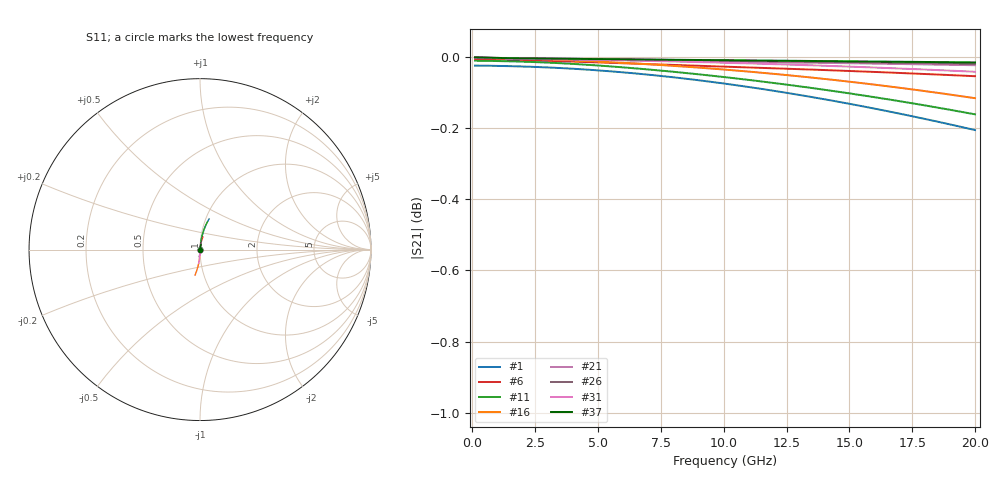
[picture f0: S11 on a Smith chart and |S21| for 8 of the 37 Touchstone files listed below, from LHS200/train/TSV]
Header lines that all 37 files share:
! Touchstone file exported from HFSS 2026.1.0
!  Design:  TSV
! Variables:
! Terminal data exported
# GHz S MA R 50.000000
Fixed: h_bsmrdl = 2um, h_ox = 20um, h_rdl = 5um, h_tmrdl = 5um, h_via = 3um, l_bsmrdl = 300um, l_tmrdl = 200um, m_sub = 200um, s_tmrdl = 10um, w_bsmrdl = 18um, w_sub = 500um, w_tmrdl = 12um, x_tsv_center1 = 206um, x_tsv_center2 = 524um, x_tsv_center3 = 736um, x_tsv_center4 = 1054um, x_tsv_center5 = 1266um, x_tsv_center6 = 1584um
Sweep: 100 MHz to 20 GHz
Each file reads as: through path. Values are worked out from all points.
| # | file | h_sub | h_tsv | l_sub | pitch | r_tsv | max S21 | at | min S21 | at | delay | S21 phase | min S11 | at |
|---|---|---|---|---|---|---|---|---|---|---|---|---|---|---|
| 1 | dut100.s2p | 99.44um | 99.44um | 404.02um | 49.76um | 2.01um | -0.02 dB | 100 MHz | -0.2 dB | 20 GHz | 2.06 ps | -8 deg at 10.1 GHz | -50.6 dB | 100 MHz |
| 2 | dut101.s2p | 50.51um | 50.51um | 410.68um | 13.7um | 5.34um | 0.00 dB | 100 MHz | 0.0 dB | 20 GHz | - | -3 deg at 10.1 GHz | -70.0 dB | 100 MHz |
| 3 | dut102.s2p | 64.33um | 64.33um | 404.26um | 5.87um | 2.13um | -0.01 dB | 100 MHz | 0.0 dB | 20 GHz | - | -3 deg at 10.1 GHz | -55.6 dB | 100 MHz |
| 4 | dut103.s2p | 78.54um | 78.54um | 404.38um | 5.78um | 2.19um | -0.02 dB | 100 MHz | -0.1 dB | 20 GHz | 1.14 ps | -4 deg at 10.1 GHz | -54.4 dB | 100 MHz |
| 5 | dut104.s2p | 53.9um | 53.9um | 411.06um | 58.84um | 5.53um | 0.00 dB | 100 MHz | 0.0 dB | 20 GHz | 1.09 ps | -4 deg at 10.1 GHz | -66.1 dB | 100 MHz |
| 6 | dut105.s2p | 99.32um | 99.32um | 407.76um | 31.51um | 3.88um | -0.01 dB | 100 MHz | -0.1 dB | 20 GHz | 1.44 ps | -5 deg at 10.1 GHz | -61.0 dB | 100 MHz |
| 7 | dut108.s2p | 52.47um | 52.47um | 404.58um | 6.53um | 2.29um | -0.01 dB | 100 MHz | 0.0 dB | 20 GHz | - | -3 deg at 10.1 GHz | -58.5 dB | 100 MHz |
| 8 | dut109.s2p | 70.55um | 70.55um | 404.04um | 16.99um | 2.02um | -0.02 dB | 100 MHz | -0.1 dB | 20 GHz | 1.02 ps | -4 deg at 10.1 GHz | -53.9 dB | 100 MHz |
| 9 | dut110.s2p | 72.1um | 72.1um | 404.06um | 33.27um | 2.03um | -0.02 dB | 100 MHz | -0.1 dB | 20 GHz | 1.34 ps | -5 deg at 10.1 GHz | -53.6 dB | 100 MHz |
| 10 | dut111.s2p | 98.56um | 98.56um | 419.46um | 57.89um | 9.73um | 0.00 dB | 100 MHz | 0.0 dB | 20 GHz | 1.46 ps | -5 deg at 10.1 GHz | -69.0 dB | 100 MHz |
| 11 | dut112.s2p | 93.26um | 93.26um | 405.96um | 59.32um | 2.98um | -0.01 dB | 100 MHz | -0.2 dB | 20 GHz | 1.93 ps | -7 deg at 10.1 GHz | -56.4 dB | 100 MHz |
| 12 | dut113.s2p | 82.38um | 82.38um | 413.98um | 36.83um | 6.99um | 0.00 dB | 100 MHz | 0.0 dB | 20 GHz | 1.15 ps | -4 deg at 10.1 GHz | -70.4 dB | 100 MHz |
| 13 | dut114.s2p | 99.79um | 99.79um | 410.52um | 42.26um | 5.26um | 0.00 dB | 100 MHz | -0.1 dB | 20 GHz | 1.5 ps | -6 deg at 10.1 GHz | -63.9 dB | 100 MHz |
| 14 | dut115.s2p | 99.82um | 99.82um | 414.98um | 17.53um | 7.49um | 0.00 dB | 100 MHz | -0.1 dB | 20 GHz | 1.7 ps | -6 deg at 10.1 GHz | -63.4 dB | 100 MHz |
| 15 | dut116.s2p | 52.18um | 52.18um | 411.5um | 43.34um | 5.75um | 0.00 dB | 100 MHz | 0.0 dB | 20 GHz | - | -3 deg at 10.1 GHz | -69.1 dB | 100 MHz |
| 16 | dut117.s2p | 82.89um | 82.89um | 428.14um | 31.53um | 14.07um | 0.00 dB | 100 MHz | -0.1 dB | 20 GHz | 1.61 ps | -6 deg at 10.1 GHz | -63.0 dB | 100 MHz |
| 17 | dut118.s2p | 66.82um | 66.82um | 417.56um | 58.68um | 8.78um | 0.00 dB | 100 MHz | 0.0 dB | 20 GHz | 1.11 ps | -4 deg at 10.1 GHz | -69.6 dB | 100 MHz |
| 18 | dut119.s2p | 91.91um | 91.91um | 404.38um | 23.63um | 2.19um | -0.02 dB | 100 MHz | -0.1 dB | 20 GHz | 1.41 ps | -5 deg at 10.1 GHz | -53.0 dB | 100 MHz |
| 19 | dut120.s2p | 50.94um | 50.94um | 420.26um | 32.4um | 10.13um | 0.00 dB | 100 MHz | 0.0 dB | 20 GHz | - | -3 deg at 10.1 GHz | -78.3 dB | 100 MHz |
| 20 | dut121.s2p | 59.59um | 59.59um | 404.76um | 43.4um | 2.38um | -0.01 dB | 100 MHz | -0.1 dB | 20 GHz | 1.27 ps | -5 deg at 10.1 GHz | -57.3 dB | 100 MHz |
| 21 | dut123.s2p | 99.56um | 99.56um | 419.12um | 30.63um | 9.56um | 0.00 dB | 100 MHz | 0.0 dB | 20 GHz | 1.32 ps | -5 deg at 10.1 GHz | -72.9 dB | 100 MHz |
| 22 | dut124.s2p | 58.39um | 58.39um | 408.26um | 9.96um | 4.13um | 0.00 dB | 100 MHz | 0.0 dB | 20 GHz | - | -4 deg at 10.1 GHz | -65.6 dB | 100 MHz |
| 23 | dut125.s2p | 99.9um | 99.9um | 429.5um | 40.44um | 14.75um | 0.00 dB | 100 MHz | 0.0 dB | 20 GHz | 1.45 ps | -5 deg at 10.1 GHz | -68.9 dB | 100 MHz |
| 24 | dut126.s2p | 72.22um | 72.22um | 408.2um | 59.57um | 4.1um | 0.00 dB | 100 MHz | -0.1 dB | 20 GHz | 1.48 ps | -5 deg at 10.1 GHz | -61.6 dB | 100 MHz |
| 25 | dut127.s2p | 85.71um | 85.71um | 421.22um | 25.18um | 10.61um | 0.00 dB | 100 MHz | -0.1 dB | 20 GHz | 1.44 ps | -5 deg at 10.1 GHz | -65.2 dB | 100 MHz |
| 26 | dut128.s2p | 63.72um | 63.72um | 414.84um | 46.29um | 7.42um | 0.00 dB | 100 MHz | 0.0 dB | 20 GHz | - | -4 deg at 10.1 GHz | -70.5 dB | 100 MHz |
| 27 | dut129.s2p | 87.81um | 87.81um | 404.02um | 7.25um | 2.01um | -0.02 dB | 100 MHz | -0.1 dB | 20 GHz | 1.11 ps | -4 deg at 10.1 GHz | -52.1 dB | 100 MHz |
| 28 | dut130.s2p | 70.9um | 70.9um | 416.14um | 38.9um | 8.07um | 0.00 dB | 100 MHz | 0.0 dB | 20 GHz | 1 ps | -4 deg at 10.1 GHz | -73.5 dB | 100 MHz |
| 29 | dut131.s2p | 57.06um | 57.06um | 429.62um | 48.56um | 14.81um | 0.00 dB | 100 MHz | 0.0 dB | 20 GHz | - | -3 deg at 10.1 GHz | -80.2 dB | 100 MHz |
| 30 | dut132.s2p | 89.03um | 89.03um | 417.02um | 29.27um | 8.51um | 0.00 dB | 100 MHz | 0.0 dB | 20 GHz | 1.18 ps | -4 deg at 10.1 GHz | -74.0 dB | 100 MHz |
| 31 | dut133.s2p | 50.04um | 50.04um | 416.08um | 18.55um | 8.04um | 0.00 dB | 100 MHz | 0.0 dB | 20 GHz | - | -3 deg at 10.1 GHz | -68.6 dB | 100 MHz |
| 32 | dut134.s2p | 66.34um | 66.34um | 422.86um | 58.8um | 11.43um | 0.00 dB | 100 MHz | 0.0 dB | 20 GHz | 1.03 ps | -4 deg at 10.1 GHz | -74.0 dB | 100 MHz |
| 33 | dut135.s2p | 75.01um | 75.01um | 404.08um | 43.88um | 2.04um | -0.02 dB | 100 MHz | -0.1 dB | 20 GHz | 1.57 ps | -6 deg at 10.1 GHz | -53.2 dB | 100 MHz |
| 34 | dut136.s2p | 50.1um | 50.1um | 425.24um | 57.77um | 12.62um | 0.00 dB | 100 MHz | 0.0 dB | 20 GHz | - | -3 deg at 10.1 GHz | -78.6 dB | 100 MHz |
| 35 | dut137.s2p | 73.4um | 73.4um | 410.92um | 30.57um | 5.46um | 0.00 dB | 100 MHz | 0.0 dB | 20 GHz | 1.03 ps | -4 deg at 10.1 GHz | -68.5 dB | 100 MHz |
| 36 | dut138.s2p | 97.94um | 97.94um | 410.96um | 22.11um | 5.48um | 0.00 dB | 100 MHz | 0.0 dB | 20 GHz | 1.25 ps | -5 deg at 10.1 GHz | -67.6 dB | 100 MHz |
| 37 | dut139.s2p | 89.89um | 89.89um | 420.92um | 52.29um | 10.46um | 0.00 dB | 100 MHz | 0.0 dB | 20 GHz | 1.28 ps | -5 deg at 10.1 GHz | -72.8 dB | 100 MHz |
